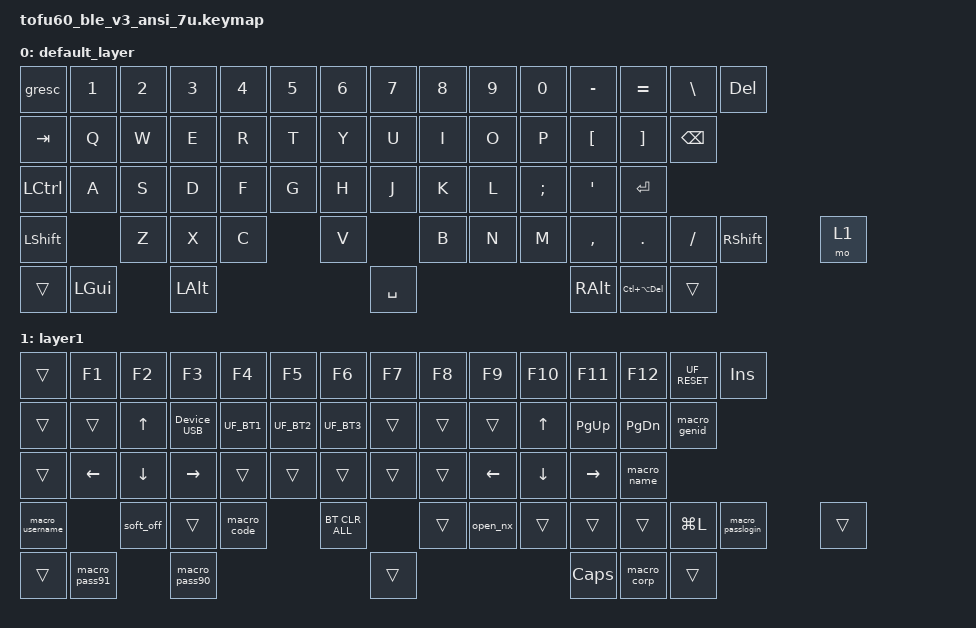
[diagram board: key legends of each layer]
#include "common.keymap"

#define UF_RESET bootloader_reset 0 0
#define UF_BT1 device_bt1 0 0
#define UF_BT2 device_bt2 0 1
#define UF_BT3 device_bt3 0 2

/ {
    macros {
        macro_corp: macro_corp {
            compatible = "zmk,behavior-macro";
            #binding-cells = <0>;
            bindings = <&macro_tap &kp C &kp O &kp R &kp P &kp BSLH &kp K &kp Y &kp N9 &kp N1 &kp DOT &kp H &kp A &kp I>;
        };
        macro_pass91: macro_pass91 {
            compatible = "zmk,behavior-macro";
            #binding-cells = <0>;
            bindings = <&macro_tap &kp LS(H) &kp A &kp I &kp K &kp Y &kp N9 &kp N1 &kp N &kp A &kp LS(N1)>;
        };
        macro_pass90: macro_pass90 {
            compatible = "zmk,behavior-macro";
            #binding-cells = <0>;
            bindings = <&macro_tap &kp LS(H) &kp A &kp I &kp K &kp Y &kp N9 &kp N9 &kp N0 &kp N &kp A &kp LS(N1)>;
        };
        macro_username: macro_username {
            compatible = "zmk,behavior-macro";
            #binding-cells = <0>;
            bindings = <&macro_tap &kp K &kp Y &kp N9 &kp N1 &kp DOT &kp H &kp A &kp I>;
        };
        macro_genid: macro_genid {
            compatible = "zmk,behavior-macro";
            #binding-cells = <0>;
            bindings = <&macro_tap &kp N1 &kp N5 &kp N7 &kp N9 &kp N8 &kp N6 &kp N7 &kp N5>;
        };
        macro_passlogin: macro_passlogin {
            compatible = "zmk,behavior-macro";
            #binding-cells = <0>;
            bindings = <&macro_tap &kp N2 &kp N9 &kp N0 &kp N8 &kp N9 &kp N1>;
        };
        
        open_nx: open_nx {
            compatible = "zmk,behavior-macro";
            #binding-cells = <0>;
            tap-ms = <10>;
            wait-ms = <10>;
            bindings
                = <&macro_wait_time 500>
                , <&macro_tap &kp LGUI>   // nhấn Win, chờ 500ms
                , <&macro_wait_time 10>
                , <&macro_tap &kp N>      // gõ N, chờ 10ms
                , <&macro_wait_time 500>
                , <&macro_tap &kp X>      // gõ X, chờ 500ms
                , <&macro_tap &kp RET>    // Enter
                ;
        };
        macro_code: macro_code {
            compatible = "zmk,behavior-macro";
            #binding-cells = <0>;
            tap-ms = <10>;
            wait-ms = <10>;
            bindings
                = <&macro_wait_time 500>
                , <&macro_tap &kp LGUI>   // nhấn Win, chờ 500ms
                , <&macro_wait_time 10>
                , <&macro_tap &kp C &kp O &kp D>   // gõ C, O, D sát nhau
                , <&macro_wait_time 500>
                , <&macro_tap &kp E>      // gõ E, chờ 500ms
                , <&macro_tap &kp RET>    // Enter
                ;
        };
        macro_name: macro_name {
            compatible = "zmk,behavior-macro";
            #binding-cells = <0>;
            tap-ms = <20>;
            wait-ms = <20>;
            bindings
                = <&macro_tap
                    &kp LS(N) &kp G &kp U &kp Y &kp E &kp E &kp N &kp X
                    &kp SPACE
                    &kp LS(H) &kp A &kp I &kp R
                    &kp SPACE
                    &kp LS(K) &kp Y &kp R
                  >
                ;
        };

    };

    keymap {
        compatible = "zmk,keymap";
        
        default_layer {

            bindings = <
    &gresc  &kp N1 &kp N2 &kp N3 &kp N4 &kp N5 &kp N6 &kp N7 &kp N8 &kp N9 &kp N0 &kp MINUS &kp EQUAL &kp BSLH  &kp DELETE
    &kp TAB    &kp Q  &kp W  &kp E  &kp R  &kp T  &kp Y  &kp U  &kp I  &kp O  &kp P  &kp LBKT  &kp RBKT  &kp BSPC
    &kp LCTRL    &kp A  &kp S  &kp D  &kp F  &kp G  &kp H  &kp J  &kp K  &kp L  &kp SEMI &kp SQT        &kp RET
    &kp LSHFT      &kp Z  &kp X  &kp C  &kp V  &kp B  &kp N  &kp M  &kp COMMA &kp DOT &kp FSLH      &kp RSHIFT &mo 1
    &trans &kp LGUI &kp LALT             &kp SPACE                       &kp RALT  &kp LC(LA(DEL))    &trans
            >;
        };

        layer1 {
            bindings = <
    &trans  &kp F1    &kp F2    &kp F3      &kp F4   &kp F5   &kp F6   &kp F7  &kp F8   &kp F9    &kp F10   &kp F11       &kp F12        &UF_RESET &kp INSERT
    &trans  &trans    &kp UP    &Device_USB &UF_BT1  &UF_BT2  &UF_BT3  &trans  &trans   &trans    &kp UP    &kp PAGE_UP   &kp PAGE_DOWN  &macro_genid 
    &trans  &kp LEFT  &kp DOWN  &kp RIGHT   &trans   &trans   &trans   &trans  &trans   &kp LEFT  &kp DOWN  &kp RIGHT     &macro_name
    &macro_username  &soft_off    &trans    &macro_code      &bt BT_CLR_ALL   &trans   &open_nx   &trans  &trans   &trans    &kp LG(L)    &macro_passlogin        &trans
    &trans  &macro_pass91    &macro_pass90                            &trans                                    &kp CLCK  &macro_corp        &trans
            >;
        };
        layer2 { status = "reserved"; };
        layer3 { status = "reserved"; };
        layer4 { status = "reserved"; };
        layer5 { status = "reserved"; };
        layer6 { status = "reserved"; };
        layer7 { status = "reserved"; };
    };
};
